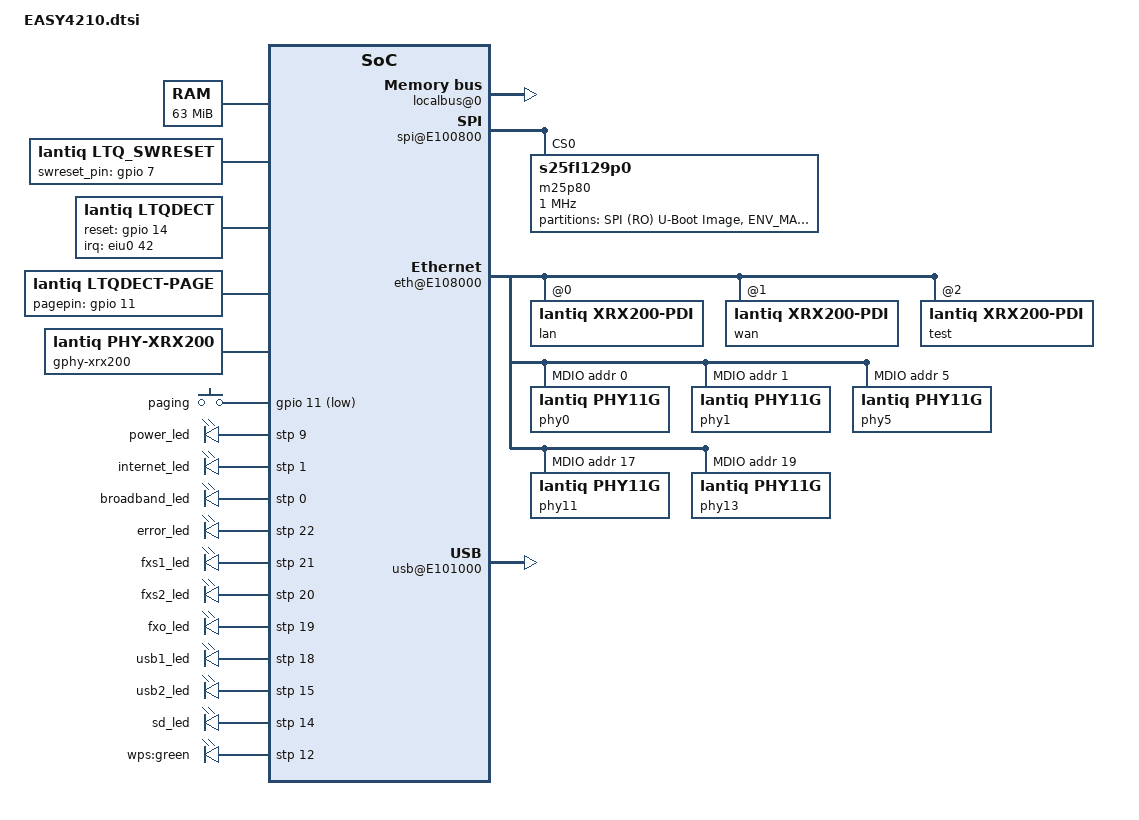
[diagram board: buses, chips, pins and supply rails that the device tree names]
/include/ "xRX200.dtsi"

/ {
	chosen {
		//bootargs = "console=ttyLTQ0,115200 init=/etc/preinit";
	};

	memory@0 {
		reg = <0x0 0x3f00000>;
	};

	fpi@10000000 {
		#address-cells = <1>;
		#size-cells = <1>;
		compatible = "lantiq,fpi", "simple-bus";
		ranges = <0x0 0x10000000 0xEEFFFFF>;
		reg = <0x10000000 0xEF00000>;

		localbus@0 {
			#address-cells = <2>;
			#size-cells = <1>;
			compatible = "lantiq,localbus", "simple-bus";
		};

		spi@E100800 {
			compatible = "lantiq,spi-xway-broken", "lantiq,spi-ssc";
			reg = <0xE100800 0x100>;
			interrupt-parent = <&icu0>;
			interrupts = <22 23 24>;
			#address-cells = <1>;
			#size-cells = <1>;

			m25p80@0 {
				#address-cells = <1>;
				#size-cells = <1>;
				compatible = "s25fl129p0";
				reg = <0 0>;
				linux,modalias = "m25p80", "mx25l3205d";
				spi-max-frequency = <1000000>;

				partition@0 {
					reg = <0x0 0x20000>;
					label = "SPI (RO) U-Boot Image";
					read-only;
				};

				partition@20000 {
					reg = <0x20000 0x10000>;
					label = "ENV_MAC";
					read-only;
				};

				partition@30000 {
					reg = <0x30000 0x10000>;
					label = "DPF";
					read-only;
				};

				partition@40000 {
					reg = <0x40000 0x10000>;
					label = "NVRAM";
					read-only;
				};

				partition@500000 {
					reg = <0x50000 0x003a0000>;
					label = "kernel";
				};
			};
		};

		spi@E100800 {
			compatible = "lantiq,spi-ssc";
			reg = <0xE100800 0x100>;
			interrupt-parent = <&icu0>;
			interrupts = <22 23 24>;
			#address-cells = <1>;
			#size-cells = <1>;
		};

		gpio: pinmux@E100B10 {
			compatible = "lantiq,pinctrl-xr9";
			pinctrl-names = "default";
			pinctrl-0 = <&state_default>;

			interrupt-parent = <&icu0>;
			interrupts = <166 135 66 40 41 42 38>;

			#gpio-cells = <2>;
			gpio-controller;
			reg = <0xE100B10 0xA0>;

			state_default: pinmux {
				exin {
					lantiq,groups = "exin3", "exin5";
					lantiq,function = "exin";
				};
				stp {
					lantiq,groups = "stp";
					lantiq,function = "stp";
				};
				spi {
					lantiq,groups = "spi", "spi_cs4", "spi_cs2";
					lantiq,function = "spi";
				};
				nand {
					lantiq,groups = "nand cle", "nand ale",
							"nand rd", "nand rdy";
					lantiq,function = "ebu";
				};
				mdio {
					lantiq,groups = "mdio";
					lantiq,function = "mdio";
				};
				pci {
					lantiq,groups = "gnt1", "req1";
					lantiq,function = "pci";
				};
				conf_out {
					lantiq,pins = "io24", "io13", "io49", /* nand cle, ale and rd */
							"io4", "io5", "io6", /* stp */
							"io10", "io17", "io18", "io22", /* spi */
							"io21",
							"io33";
					lantiq,open-drain = <0>;
					lantiq,pull = <0>;
					lantiq,output = <1>;
				};
				pcie-reset {
					lantiq,pins = "io38";
					lantiq,pull = <0>;
					lantiq,output = <1>;
				};
				conf_in {
					lantiq,pins = "io39", /* exin3 */
							"io9", /* exin5 */
							"io48", /* nand rdy */
							"io16"; /* spi in */
					lantiq,pull = <2>;
				};
			};
		};

		eth@E108000 {
			#address-cells = <1>;
			#size-cells = <0>;
			compatible = "lantiq,xrx200-net";
			reg = <	0xE108000 0x3000 /* switch */
				0xE10B100 0x70 /* mdio */
				0xE10B1D8 0x30 /* mii */
				0xE10B308 0x30 /* pmac */
			>;
			interrupt-parent = <&icu0>;
			interrupts = <73 72 95 96>;

			lan: interface@0 {
				compatible = "lantiq,xrx200-pdi";
				#address-cells = <1>;
				#size-cells = <0>;
				reg = <0>;
				mac-address = [ 00 11 22 33 44 55 ];

				ethernet@0 {
					compatible = "lantiq,xrx200-pdi-port";
					reg = <0>;
					phy-mode = "rgmii";
					phy-handle = <&phy0>;
				};
				ethernet@1 {
					compatible = "lantiq,xrx200-pdi-port";
					reg = <1>;
					phy-mode = "rgmii";
					phy-handle = <&phy1>;
				};
				ethernet@2 {
					compatible = "lantiq,xrx200-pdi-port";
					reg = <2>;
					phy-mode = "gmii";
					phy-handle = <&phy11>;
				};
			};

			wan: interface@1 {
				compatible = "lantiq,xrx200-pdi";
				#address-cells = <1>;
				#size-cells = <0>;
				reg = <1>;
				mac-address = [ 00 11 22 33 44 56 ];
				lantiq,wan;
				ethernet@5 {
					compatible = "lantiq,xrx200-pdi-port";
					reg = <5>;
					phy-mode = "rgmii";
					phy-handle = <&phy5>;
				};
			};

			test: interface@2 {
				compatible = "lantiq,xrx200-pdi";
				#address-cells = <1>;
				#size-cells = <0>;
				reg = <2>;
				mac-address = [ 00 11 22 33 44 57 ];
				ethernet@4 {
					compatible = "lantiq,xrx200-pdi-port";
					reg = <4>;
					phynmode0 = "gmii";
					phy-handle = <&phy13>;
				};
			};

			mdio@0 {
				#address-cells = <1>;
				#size-cells = <0>;
				compatible = "lantiq,xrx200-mdio";
				phy0: ethernet-phy@0 {
					reg = <0x0>;
					compatible = "lantiq,phy11g", "ethernet-phy-ieee802.3-c22";
				};
				phy1: ethernet-phy@1 {
					reg = <0x1>;
					compatible = "lantiq,phy11g", "ethernet-phy-ieee802.3-c22";
				};
				phy5: ethernet-phy@5 {
					reg = <0x5>;
					compatible = "lantiq,phy11g", "ethernet-phy-ieee802.3-c22";
				};
				phy11: ethernet-phy@11 {
					reg = <0x11>;
					compatible = "lantiq,phy11g", "ethernet-phy-ieee802.3-c22";
				};
				phy13: ethernet-phy@13 {
					reg = <0x13>;
					compatible = "lantiq,phy11g", "ethernet-phy-ieee802.3-c22";
				};
			};
		};

		eth@E108000 {
			#address-cells = <1>;
			#size-cells = <0>;
			compatible = "lantiq,xway-net";
			reg = < 0xE108000 0x3000 /* switch */
				0xE10B100 0x70 /* mdio */
				0xE10B1D8 0x30 /* mii */
				0xE10B308 0x30 /* pmac */
			>;
		};

		stp: stp@E100BB0 {
			compatible = "lantiq,gpio-stp-xway";
			reg = <0xE100BB0 0x40>;
			#gpio-cells = <2>;
			gpio-controller;

			lantiq,shadow = <0xffff>;
			lantiq,groups = <0x7>;
			/* lantiq,dsl = <0x3>; */
			lantiq,phy1 = <0x7>;
			lantiq,phy2 = <0x7>;
			/* lantiq,rising; */
		};

		usb@E101000 {
			status = "okay";
			vbus = <&gpio 33 0> , <&gpio 33 0>;
			/*led  = <&gpio 31 0> , <&gpio 30 0>;*/
			/*as_host    = <1 1>;*/
			/*oc_off     = <1 1>;*/
		};
	};

	ltq_swreset {
		compatible = "lantiq,ltq_swreset";
		swreset_pin = <&gpio 7 0>;
		swreset_bit = <1>;
		status = "okay";
	};

	dect {
		compatible = "lantiq,ltqdect";
		interrupt-parent = <&eiu0>; /*External interrupt*/
		interrupts = <42>; /* External interrupt connected to IM1_IRL2; (IRQBase=8)+(IM1=32)+(IRL2=2)=42 */
		lantiq,dect-cs= <1>; /*DECT chip select port used by SSC interface*/
		gpio-reset = <&gpio 14 0>; /*COSIC Reset PIN connected to GPIO 14*/
		status = "okay";
	};

	dect-page {
		compatible = "lantiq,ltqdect-page";
		lantiq,pagepin= <&gpio 11 0>; /*DECT Page Pin connected to GPIO 11*/
		lantiq,pagebit= <1>; /*DECT Page Bit: Bit info meant for DECT*/
		status = "okay";
	};

	gphy-xrx200 {
		compatible = "lantiq,phy-xrx200";
		firmware = "lantiq/vr9_phy11g_a2x.bin";
		phys = [ 00 01 ];
	};

	gpio-keys-polled {
		compatible = "gpio-keys-polled";
		#address-cells = <1>;
		#size-cells = <0>;
		poll-interval = <100>;
/*		reset {
			label = "reset";
			gpios = <&gpio 7 1>;
			linux,code = <0x198>;
		};*/
		paging {
			label = "paging";
			gpios = <&gpio 11 1>;
			linux,code = <0x100>;
		};
	};

	gpio-leds {
		compatible = "gpio-leds";

		power_led {
			label = "power_led";
			gpios = <&stp 9 0>;
			default-state = "on";
		};
		internet_led {
			label = "internet_led";
			gpios = <&stp 1 0>;
		};
		broadband_led {
			label = "broadband_led";
			gpios = <&stp 0 0>;
		};
		error_led {
			label = "error_led";
			gpios = <&stp 22 0>;
		};
		fxs1_led {
			label = "fxs1_led";
			gpios = <&stp 21 0>;
		};
		fxs2_led {
			label = "fxs2_led";
			gpios = <&stp 20 0>;
		};
		fxo_led {
			label = "fxo_led";
			gpios = <&stp 19 0>;
		};
		usb1_led {
			label = "usb1_led";
			gpios = <&stp 18 0>;
		};
		usb2_led {
			label = "usb2_led";
			gpios = <&stp 15 0>;
		};
		sd_led {
			label = "sd_led";
			gpios = <&stp 14 0>;
		};
		wps_led {
			label = "wps:green";
			gpios = <&stp 12 0>;
		};
	};
};
